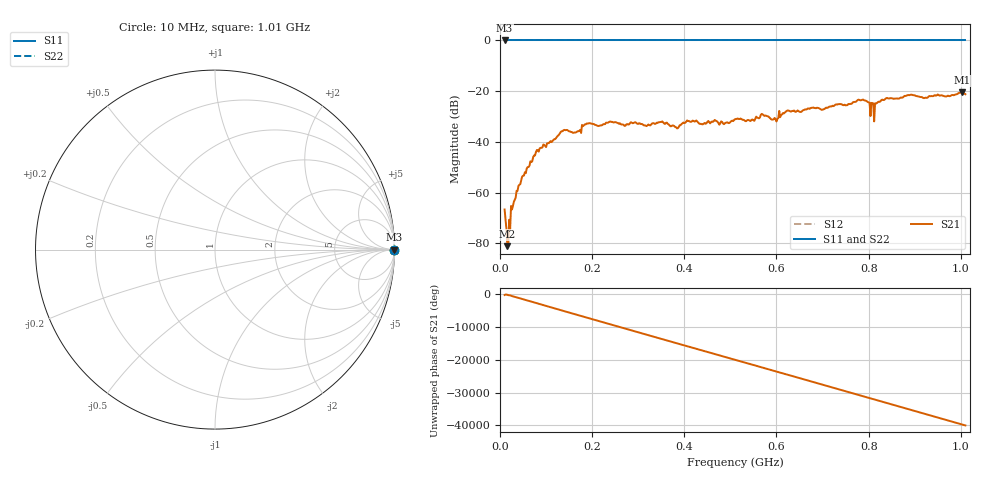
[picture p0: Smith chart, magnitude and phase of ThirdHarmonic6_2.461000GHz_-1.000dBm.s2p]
! 8/17/2025 4:27:55 AM
! C:\ANRITSUVNA\TEMP\TEMP.S2P
! CHANNEL.1
! TR.MEASUREMENT
! RAW.DATA
! RF.CORRECTION.OFF
! AVERAGING.OFF
! IF.BANDWIDTH: 5KHZ
! SWEEPTYPE:  FREQ.SWEEP(Linear)
! Reference Plane Port Info
! PORT:  PORT1  PORT2
! DISTANCE:  0  m  0  m
! TIME:  0  s  0  s
! PHASE.OFFSET:  0  deg.  0  deg.
! LOSS:  0  dB  0  dB
! REF.LOSS:  0  dB  0  dB
! REF.FREQ:  0  Hz  0  Hz
! Power Info
! POWER:  -20  dBm  -20  dBm
! EFF.POWER:  -20  dBm  -20  dBm
! SOURCE.ATTEN:  0  dB  0  dB
! TEST.ATTEN:  0  dB  0  dB
# GHZ S RI R 50.0
! FREQ.GHZ  S11RE  S11IM  S21RE  S21IM  S12RE  S12IM  S22RE  S22IM
!; PortSelection: Port_12
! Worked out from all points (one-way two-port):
!   501 points, 10 MHz to 1.01 GHz, reference 50 ohm
!   highest |S21| = -20.47 dB at 1.002 GHz (marker M1); lowest = -81.1 dB at 16 MHz (marker M2)
!   lowest |S11| = 0.0 dB at 10 MHz (marker M3)
!   |S11| at or under -10 dB: nowhere
!   |S22| runs from 0.0 to 0.0 dB; largest |S21 - S12| = 1.1
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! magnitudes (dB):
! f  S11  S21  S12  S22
! 10 MHz  0.0  -66.7  0.0  0.0
! 16 MHz  0.0  -81.1  0.0  0.0
! 18 MHz  0.0  -80.0  0.0  0.0
! 28 MHz  0.0  -65.3  0.0  0.0
! 40 MHz  0.0  -57.4  0.0  0.0
! 78 MHz  0.0  -44.0  0.0  0.0
! 136 MHz  0.0  -35.8  0.0  0.0
! 178 MHz  0.0  -33.3  0.0  0.0
! 192 MHz  0.0  -32.7  0.0  0.0
! 344 MHz  0.0  -32.3  0.0  0.0
! 384 MHz  0.0  -34.7  0.0  0.0
! 408 MHz  0.0  -31.8  0.0  0.0
! 510 MHz  0.0  -31.1  0.0  0.0
! 570 MHz  0.0  -29.2  0.0  0.0
! 596 MHz  0.0  -30.6  0.0  0.0
! 624 MHz  0.0  -27.6  0.0  0.0
! 678 MHz  0.0  -26.5  0.0  0.0
! 784 MHz  0.0  -23.6  0.0  0.0
! 808 MHz  0.0  -24.7  0.0  0.0
! 844 MHz  0.0  -22.9  0.0  0.0
! 1.002 GHz  0.0  -20.5  0.0  0.0
! 1.01 GHz  0.0  -21.2  0.0  0.0
